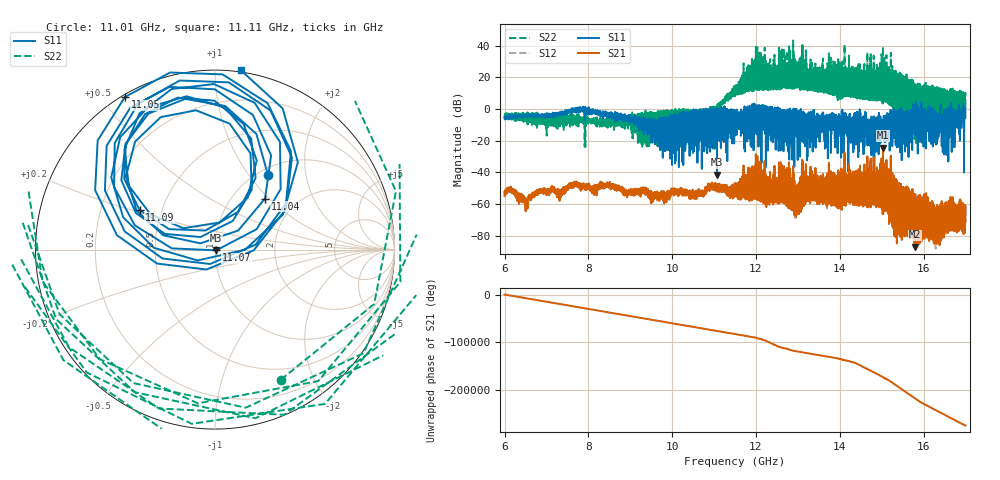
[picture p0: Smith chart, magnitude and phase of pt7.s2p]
#  HZ  S  RI  R  50.00
! Rohde & Schwarz Vector Network Analyzer
! Rohde-Schwarz,ZNA67-2Port,1332450062101215,3.01
! Created: UTC 10/15/2026, 12:32:54 PM
! freq[Hz]  re:S11  im:S11  re:S21  im:S21  re:S12  im:S12  re:S22  im:S22
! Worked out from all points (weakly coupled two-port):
!   11001 points, 6 GHz to 17 GHz, reference 50 ohm
!   highest |S21| = -24.24 dB at 15.03 GHz (marker M1); lowest = -86.9 dB at 15.79 GHz (marker M2)
!   lowest |S11| = -41.5 dB at 11.07 GHz (marker M3), VSWR 1.02, Z = 50.7 - j0.412 ohm
!   |S11| at or under -10 dB: 9.541698 GHz to 9.556626 GHz (14.93 MHz wide, 0.156 % of centre); 14.07884 GHz to 14.09296 GHz (14.12 MHz wide, 0.1 % of centre); 14.7861 GHz to 14.80108 GHz (14.98 MHz wide, 0.101 % of centre) (the widest 3 of 567)
!   |S22| runs from -25.1 to 43.4 dB; largest |S21 - S12| = 0.0044
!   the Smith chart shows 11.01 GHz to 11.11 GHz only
!   S11 on the Smith chart (normalised r, x): 11.01 GHz: 1.11, +1.24; 11.04 GHz: 1.40, +0.95; 11.05 GHz: 0.01, +0.57; 11.07 GHz: 1.01, -0.01; 11.09 GHz: 0.38, +0.21; 11.11 GHz: -0.01, +1.15
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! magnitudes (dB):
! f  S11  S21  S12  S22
! 6 GHz  -5.0  -55.0  -54.9  -5.3
! 6.521 GHz  -3.9  -57.9  -57.6  -3.7
! 7.834 GHz  -0.8  -50.8  -50.6  -7.0
! 9.667 GHz  -8.2  -55.1  -55.2  -1.9
! 11.01 GHz  -5.9  -48.2  -48.3  -1.8
! 11.04 GHz  -8.0  -48.9  -48.6  -1.2
! 11.05 GHz  -0.1  -50.9  -50.9  2.2
! 11.07 GHz  -41.5  -50.0  -50.1  -0.3
! 11.09 GHz  -6.5  -50.4  -50.4  3.1
! 11.11 GHz  0.1  -50.1  -50.0  2.7
! 11.5 GHz  -3.7  -52.8  -52.7  10.1
! 12.64 GHz  -1.0  -55.3  -55.2  13.9
! 12.95 GHz  -10.4  -63.3  -62.7  16.9
! 13.33 GHz  -14.1  -54.7  -54.8  15.6
! 15.03 GHz  -11.6  -24.2  -24.1  39.4
! 15.17 GHz  -13.1  -64.5  -64.3  5.1
! 15.65 GHz  -3.4  -71.3  -71.6  -2.3
! 15.79 GHz  -3.9  -86.9  -85.5  -18.9
! 16.06 GHz  -24.8  -74.2  -73.0  -2.7
! 16.31 GHz  -5.5  -64.7  -64.7  13.8
! 16.57 GHz  0.6  -72.1  -72.7  -1.5
! 17 GHz  0.8  -71.4  -71.0  1.7
